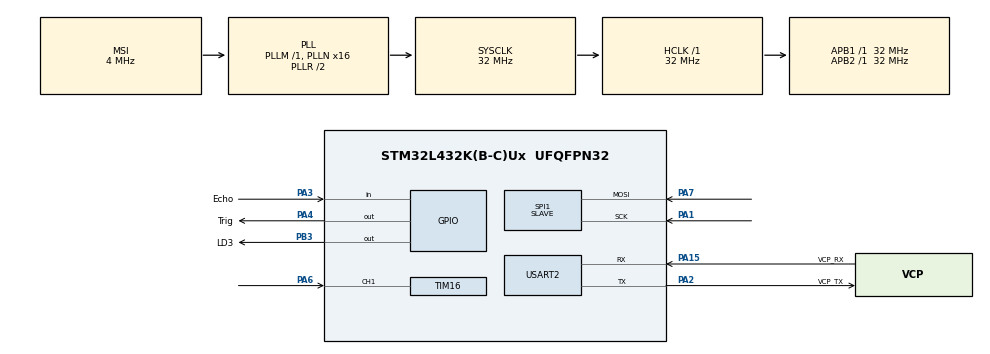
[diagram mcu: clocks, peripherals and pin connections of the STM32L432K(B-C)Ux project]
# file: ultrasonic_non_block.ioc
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Dma.Request0=SPI1_RX
Dma.Request1=USART2_TX
Dma.SPI1_RX.0.Direction=DMA_PERIPH_TO_MEMORY
Dma.SPI1_RX.0.Instance=DMA2_Channel3
Dma.SPI1_RX.0.MemDataAlignment=DMA_MDATAALIGN_HALFWORD
Dma.SPI1_RX.0.MemInc=DMA_MINC_ENABLE
Dma.SPI1_RX.0.Mode=DMA_NORMAL
Dma.SPI1_RX.0.PeriphDataAlignment=DMA_PDATAALIGN_HALFWORD
Dma.SPI1_RX.0.PeriphInc=DMA_PINC_DISABLE
Dma.SPI1_RX.0.Priority=DMA_PRIORITY_LOW
Dma.USART2_TX.1.Direction=DMA_MEMORY_TO_PERIPH
Dma.USART2_TX.1.Instance=DMA1_Channel7
Dma.USART2_TX.1.MemDataAlignment=DMA_MDATAALIGN_BYTE
Dma.USART2_TX.1.MemInc=DMA_MINC_ENABLE
Dma.USART2_TX.1.Mode=DMA_NORMAL
Dma.USART2_TX.1.PeriphDataAlignment=DMA_PDATAALIGN_BYTE
Dma.USART2_TX.1.PeriphInc=DMA_PINC_DISABLE
Dma.USART2_TX.1.Priority=DMA_PRIORITY_LOW
Mcu.Family=STM32L4
Mcu.Name=STM32L432K(B-C)Ux
Mcu.Package=UFQFPN32
NVIC.DMA1_Channel7_IRQn=true\:0\:0\:false\:false\:true\:false\:true\:true
NVIC.DMA2_Channel3_IRQn=true\:0\:0\:false\:false\:true\:false\:true\:true
NVIC.PriorityGroup=NVIC_PRIORITYGROUP_4
NVIC.TIM1_BRK_TIM15_IRQn=true\:0\:0\:false\:false\:true\:true\:true\:true
NVIC.TIM1_CC_IRQn=true\:0\:0\:false\:false\:true\:true\:true\:true
NVIC.TIM1_TRG_COM_IRQn=true\:0\:0\:false\:false\:true\:true\:true\:true
NVIC.TIM1_UP_TIM16_IRQn=true\:0\:0\:false\:false\:true\:true\:true\:true
NVIC.TIM2_IRQn=true\:0\:0\:false\:false\:true\:true\:true\:true
PA0.GPIO_Label=MCO [High speed clock in]
PA0.Mode=HSE-External-Clock-Source-for-LittleOrca
PA0.Signal=RCC_CK_IN
PA1.Mode=RX_Only_Simplex_Unidirect_Slave
PA1.Signal=SPI1_SCK
PA13\ (JTMS-SWDIO).GPIO_Label=SWDIO
PA13\ (JTMS-SWDIO).Mode=Serial_Wire
PA13\ (JTMS-SWDIO).Signal=SYS_JTMS-SWDIO
PA14\ (JTCK-SWCLK).GPIO_Label=SWCLK
PA14\ (JTCK-SWCLK).Mode=Serial_Wire
PA14\ (JTCK-SWCLK).Signal=SYS_JTCK-SWCLK
PA15\ (JTDI).GPIO_Label=VCP_RX
PA15\ (JTDI).Mode=Asynchronous
PA15\ (JTDI).Signal=USART2_RX
PA2.GPIO_Label=VCP_TX
PA2.Mode=Asynchronous
PA2.Signal=USART2_TX
PA3.GPIO_Label=Echo
PA3.Signal=GPIO_Input
PA4.GPIO_Label=Trig
PA4.Signal=GPIO_Output
PA6.Signal=S_TIM16_CH1
PA7.Mode=RX_Only_Simplex_Unidirect_Slave
PA7.Signal=SPI1_MOSI
PB3\ (JTDO-TRACESWO).GPIO_Label=LD3
PB3\ (JTDO-TRACESWO).Signal=GPIO_Output
PC14-OSC32_IN\ (PC14).Mode=LSE-External-Oscillator
PC14-OSC32_IN\ (PC14).Signal=RCC_OSC32_IN
PC15-OSC32_OUT\ (PC15).Mode=LSE-External-Oscillator
PC15-OSC32_OUT\ (PC15).Signal=RCC_OSC32_OUT
ProjectManager.HeapSize=0x200
ProjectManager.StackSize=0x400
ProjectManager.TargetToolchain=STM32CubeIDE
RCC.AHBFreq_Value=32000000
RCC.APB1Freq_Value=32000000
RCC.APB1TimFreq_Value=32000000
RCC.APB2Freq_Value=32000000
RCC.APB2TimFreq_Value=32000000
RCC.CortexFreq_Value=32000000
RCC.HCLKFreq_Value=32000000
RCC.HSE_VALUE=8000000
RCC.HSI16_VALUE=16000000
RCC.HSI48_VALUE=48000000
RCC.HSI_VALUE=16000000
RCC.MSI_VALUE=4000000
RCC.PLLMUL=RCC_PLLMUL_4
RCC.PLLN=16
RCC.SYSCLKFreq_VALUE=32000000
RCC.SYSCLKSource=RCC_SYSCLKSOURCE_PLLCLK
RCC.VCOOutputFreq_Value=64000000
SH.S_TIM16_CH1.0=TIM16_CH1,Input_Capture1_from_TI1
SPI1.DataSize=SPI_DATASIZE_16BIT
SPI1.Direction=SPI_DIRECTION_2LINES_RXONLY
SPI1.Mode=SPI_MODE_SLAVE
SPI1.VirtualType=VM_SLAVE
TIM1.Period=10000
TIM1.Prescaler=31
TIM15.Period=12
TIM15.Prescaler=31
TIM16.Channel=TIM_CHANNEL_1
TIM16.Prescaler=31
TIM2.Period=200
TIM2.Prescaler=31
USART2.VirtualMode-Asynchronous=VM_ASYNC
VP_TIM15_VS_ClockSourceINT.Mode=Internal
VP_TIM16_VS_ClockSourceINT.Mode=Enable_Timer
VP_TIM1_VS_ClockSourceINT.Mode=Internal
VP_TIM2_VS_ClockSourceINT.Mode=Internal
board=NUCLEO-L432KC

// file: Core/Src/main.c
/* USER CODE BEGIN Header */
/**
  ******************************************************************************
  * @file           : main.c
  * @brief          : Main program body
  ******************************************************************************
  * @attention
  *
  * Copyright (c) 2025 STMicroelectronics.
  * All rights reserved.
  *
  * This software is licensed under terms that can be found in the LICENSE file
  * in the root directory of this software component.
  * If no LICENSE file comes with this software, it is provided AS-IS.
  *
  ******************************************************************************
  */
/* USER CODE END Header */
#include "main.h"

SPI_HandleTypeDef hspi1;
DMA_HandleTypeDef hdma_spi1_rx;

TIM_HandleTypeDef htim1;
TIM_HandleTypeDef htim2;
TIM_HandleTypeDef htim15;
TIM_HandleTypeDef htim16;

UART_HandleTypeDef huart2;
DMA_HandleTypeDef hdma_usart2_tx;

void SystemClock_Config(void);
static void MX_GPIO_Init(void);
static void MX_DMA_Init(void);
static void MX_USART2_UART_Init(void);
static void MX_TIM1_Init(void);
static void MX_TIM16_Init(void);
static void MX_TIM15_Init(void);
static void MX_TIM2_Init(void);
static void MX_SPI1_Init(void);

/* USER CODE BEGIN 0 */
uint8_t edge_state;
uint16_t rising_edge;
uint16_t falling_edge;
uint8_t distance;
uint8_t in_range = 0;
uint8_t start_bit = 0;
uint8_t uart_state = 0;

#define BUFFER_SIZE 500
uint16_t spi_rx_buffer[BUFFER_SIZE];
uint16_t uart_tx_buffer0[BUFFER_SIZE / 2];
uint16_t uart_tx_buffer1[BUFFER_SIZE / 2];
uint16_t last_sample = 2048;
volatile uint8_t phase = 0;
volatile uint8_t isReady = 0;
volatile uint8_t isTransmit = 1;
char uart_msg[64];

void HAL_TIM_PeriodElapsedCallback(TIM_HandleTypeDef *htim){
	if(htim->Instance == TIM1){
		HAL_GPIO_WritePin(Trig_GPIO_Port, Trig_Pin, 1);
		HAL_TIM_Base_Start_IT(&htim15);
	}
	else if(htim->Instance == TIM15){
		HAL_GPIO_WritePin(Trig_GPIO_Port, Trig_Pin, 0);
		HAL_TIM_Base_Stop_IT(&htim15);
		__HAL_TIM_SET_COUNTER(&htim15, 0);
	}
//	else if(htim->Instance == TIM2){
//		HAL_UART_Transmit(&huart2, &start_bit, sizeof(start_bit),100);
//		HAL_UART_Transmit(&huart2, &in_range, sizeof(in_range),100);
//		start_bit ++;
//		if(start_bit == 255){
//			start_bit = 0;
//		}
//	}
}

void HAL_TIM_IC_CaptureCallback(TIM_HandleTypeDef *htim){
	if (htim->Instance == TIM16 && htim->Channel == HAL_TIM_ACTIVE_CHANNEL_1){
		if (edge_state == 0) {
			rising_edge = HAL_TIM_ReadCapturedValue(htim, TIM_CHANNEL_1);
			__HAL_TIM_SET_CAPTUREPOLARITY(htim, TIM_CHANNEL_1, TIM_INPUTCHANNELPOLARITY_FALLING);
			edge_state = 1;
		} else {
			falling_edge = HAL_TIM_ReadCapturedValue(htim, TIM_CHANNEL_1);
			__HAL_TIM_SET_CAPTUREPOLARITY(htim, TIM_CHANNEL_1, TIM_INPUTCHANNELPOLARITY_RISING);
			edge_state = 0;

			distance = (falling_edge - rising_edge)/58;

			if(in_range == 0){
				if(distance <= 20){
					in_range = 1;
					HAL_GPIO_WritePin(LD3_GPIO_Port, LD3_Pin, 1);
				}
			} else if(in_range == 1){
				if(distance > 25){
					in_range = 0;
					HAL_GPIO_WritePin(LD3_GPIO_Port, LD3_Pin, 0);
				}
			}
		}
	}
}

void HAL_SPI_RxHalfCpltCallback(SPI_HandleTypeDef *hspi) {
    if (hspi->Instance == SPI1) {

        phase = 0;
        for (int i = 0; i < BUFFER_SIZE / 2; ++ i) {
        		uart_tx_buffer0[i] = (last_sample + spi_rx_buffer[i]) >> 1;
        		last_sample = spi_rx_buffer[i];
//        	uart_tx_buffer0[i] = spi_rx_buffer[i];
        }
        isReady = 1;

    }
}

void HAL_SPI_RxCpltCallback(SPI_HandleTypeDef *hspi) {
    if (hspi->Instance == SPI1) {
        phase = 1;
        for (int i = 0; i < BUFFER_SIZE / 2; ++ i) {
        		uart_tx_buffer1[i] = (last_sample + spi_rx_buffer[i + BUFFER_SIZE / 2]) >> 1;
        		last_sample = spi_rx_buffer[i + BUFFER_SIZE / 2];
        }
        isReady = 1;
    }
}

void HAL_UART_TxCpltCallback(UART_HandleTypeDef *huart) {
    if (huart->Instance == USART2) {
    	isTransmit = 1;
    }
}

/* USER CODE END 0 */

int main(void)
{

  /* MCU Configuration--------------------------------------------------------*/

  /* Reset of all peripherals, Initializes the Flash interface and the Systick. */
  HAL_Init();

  /* Configure the system clock */
  SystemClock_Config();

  /* Initialize all configured peripherals */
  MX_GPIO_Init();
  MX_DMA_Init();
  MX_USART2_UART_Init();
  MX_TIM1_Init();
  MX_TIM16_Init();
  MX_TIM15_Init();
  MX_TIM2_Init();
  MX_SPI1_Init();
  /* USER CODE BEGIN 2 */
  HAL_TIM_Base_Start_IT(&htim1);
  //HAL_TIM_Base_Start_IT(&htim2);
  HAL_TIM_IC_Start_IT(&htim16, TIM_CHANNEL_1);
  HAL_SPI_Receive_DMA(&hspi1, (uint8_t*)spi_rx_buffer, BUFFER_SIZE * 2);
  /* USER CODE END 2 */

  /* Infinite loop */
  while (1){

    /* USER CODE BEGIN 3 */
		  if (isReady && isTransmit) {
			  isReady = 0;
			  if (phase == 0) {
				  HAL_UART_Transmit_DMA(&huart2, (uint8_t*)uart_tx_buffer0, BUFFER_SIZE);
				  isTransmit = 0;
			  } else {
				  HAL_UART_Transmit_DMA(&huart2, (uint8_t*)uart_tx_buffer1, BUFFER_SIZE);
				  isTransmit = 0;
			  }
		  }
  }
  /* USER CODE END 3 */
}

void SystemClock_Config(void)
{
  RCC_OscInitTypeDef RCC_OscInitStruct = {0};
  RCC_ClkInitTypeDef RCC_ClkInitStruct = {0};

  /** Configure the main internal regulator output voltage
  */
  if (HAL_PWREx_ControlVoltageScaling(PWR_REGULATOR_VOLTAGE_SCALE1) != HAL_OK)
  {
    Error_Handler();
  }

  /** Configure LSE Drive Capability
  */
  HAL_PWR_EnableBkUpAccess();
  __HAL_RCC_LSEDRIVE_CONFIG(RCC_LSEDRIVE_LOW);

  /** Initializes the RCC Oscillators according to the specified parameters
  * in the RCC_OscInitTypeDef structure.
  */
  RCC_OscInitStruct.OscillatorType = RCC_OSCILLATORTYPE_LSI|RCC_OSCILLATORTYPE_LSE
                              |RCC_OSCILLATORTYPE_MSI;
  RCC_OscInitStruct.LSEState = RCC_LSE_ON;
  RCC_OscInitStruct.LSIState = RCC_LSI_ON;
  RCC_OscInitStruct.MSIState = RCC_MSI_ON;
  RCC_OscInitStruct.MSICalibrationValue = 0;
  RCC_OscInitStruct.MSIClockRange = RCC_MSIRANGE_6;
  RCC_OscInitStruct.PLL.PLLState = RCC_PLL_ON;
  RCC_OscInitStruct.PLL.PLLSource = RCC_PLLSOURCE_MSI;
  RCC_OscInitStruct.PLL.PLLM = 1;
  RCC_OscInitStruct.PLL.PLLN = 16;
  RCC_OscInitStruct.PLL.PLLP = RCC_PLLP_DIV7;
  RCC_OscInitStruct.PLL.PLLQ = RCC_PLLQ_DIV2;
  RCC_OscInitStruct.PLL.PLLR = RCC_PLLR_DIV2;
  if (HAL_RCC_OscConfig(&RCC_OscInitStruct) != HAL_OK)
  {
    Error_Handler();
  }

  /** Initializes the CPU, AHB and APB buses clocks
  */
  RCC_ClkInitStruct.ClockType = RCC_CLOCKTYPE_HCLK|RCC_CLOCKTYPE_SYSCLK
                              |RCC_CLOCKTYPE_PCLK1|RCC_CLOCKTYPE_PCLK2;
  RCC_ClkInitStruct.SYSCLKSource = RCC_SYSCLKSOURCE_PLLCLK;
  RCC_ClkInitStruct.AHBCLKDivider = RCC_SYSCLK_DIV1;
  RCC_ClkInitStruct.APB1CLKDivider = RCC_HCLK_DIV1;
  RCC_ClkInitStruct.APB2CLKDivider = RCC_HCLK_DIV1;

  if (HAL_RCC_ClockConfig(&RCC_ClkInitStruct, FLASH_LATENCY_1) != HAL_OK)
  {
    Error_Handler();
  }

  /** Enable MSI Auto calibration
  */
  HAL_RCCEx_EnableMSIPLLMode();
}

static void MX_SPI1_Init(void)
{

  /* SPI1 parameter configuration*/
  hspi1.Instance = SPI1;
  hspi1.Init.Mode = SPI_MODE_SLAVE;
  hspi1.Init.Direction = SPI_DIRECTION_2LINES_RXONLY;
  hspi1.Init.DataSize = SPI_DATASIZE_16BIT;
  hspi1.Init.CLKPolarity = SPI_POLARITY_LOW;
  hspi1.Init.CLKPhase = SPI_PHASE_1EDGE;
  hspi1.Init.NSS = SPI_NSS_SOFT;
  hspi1.Init.FirstBit = SPI_FIRSTBIT_MSB;
  hspi1.Init.TIMode = SPI_TIMODE_DISABLE;
  hspi1.Init.CRCCalculation = SPI_CRCCALCULATION_DISABLE;
  hspi1.Init.CRCPolynomial = 7;
  hspi1.Init.CRCLength = SPI_CRC_LENGTH_DATASIZE;
  hspi1.Init.NSSPMode = SPI_NSS_PULSE_DISABLE;
  if (HAL_SPI_Init(&hspi1) != HAL_OK)
  {
    Error_Handler();
  }

}

static void MX_TIM1_Init(void)
{

  TIM_ClockConfigTypeDef sClockSourceConfig = {0};
  TIM_MasterConfigTypeDef sMasterConfig = {0};

  htim1.Instance = TIM1;
  htim1.Init.Prescaler = 31;
  htim1.Init.CounterMode = TIM_COUNTERMODE_UP;
  htim1.Init.Period = 10000;
  htim1.Init.ClockDivision = TIM_CLOCKDIVISION_DIV1;
  htim1.Init.RepetitionCounter = 0;
  htim1.Init.AutoReloadPreload = TIM_AUTORELOAD_PRELOAD_DISABLE;
  if (HAL_TIM_Base_Init(&htim1) != HAL_OK)
  {
    Error_Handler();
  }
  sClockSourceConfig.ClockSource = TIM_CLOCKSOURCE_INTERNAL;
  if (HAL_TIM_ConfigClockSource(&htim1, &sClockSourceConfig) != HAL_OK)
  {
    Error_Handler();
  }
  sMasterConfig.MasterOutputTrigger = TIM_TRGO_RESET;
  sMasterConfig.MasterOutputTrigger2 = TIM_TRGO2_RESET;
  sMasterConfig.MasterSlaveMode = TIM_MASTERSLAVEMODE_DISABLE;
  if (HAL_TIMEx_MasterConfigSynchronization(&htim1, &sMasterConfig) != HAL_OK)
  {
    Error_Handler();
  }

}

static void MX_TIM2_Init(void)
{

  TIM_ClockConfigTypeDef sClockSourceConfig = {0};
  TIM_MasterConfigTypeDef sMasterConfig = {0};

  htim2.Instance = TIM2;
  htim2.Init.Prescaler = 31;
  htim2.Init.CounterMode = TIM_COUNTERMODE_UP;
  htim2.Init.Period = 200;
  htim2.Init.ClockDivision = TIM_CLOCKDIVISION_DIV1;
  htim2.Init.AutoReloadPreload = TIM_AUTORELOAD_PRELOAD_DISABLE;
  if (HAL_TIM_Base_Init(&htim2) != HAL_OK)
  {
    Error_Handler();
  }
  sClockSourceConfig.ClockSource = TIM_CLOCKSOURCE_INTERNAL;
  if (HAL_TIM_ConfigClockSource(&htim2, &sClockSourceConfig) != HAL_OK)
  {
    Error_Handler();
  }
  sMasterConfig.MasterOutputTrigger = TIM_TRGO_RESET;
  sMasterConfig.MasterSlaveMode = TIM_MASTERSLAVEMODE_DISABLE;
  if (HAL_TIMEx_MasterConfigSynchronization(&htim2, &sMasterConfig) != HAL_OK)
  {
    Error_Handler();
  }

}

static void MX_TIM15_Init(void)
{

  TIM_ClockConfigTypeDef sClockSourceConfig = {0};
  TIM_MasterConfigTypeDef sMasterConfig = {0};

  htim15.Instance = TIM15;
  htim15.Init.Prescaler = 31;
  htim15.Init.CounterMode = TIM_COUNTERMODE_UP;
  htim15.Init.Period = 12;
  htim15.Init.ClockDivision = TIM_CLOCKDIVISION_DIV1;
  htim15.Init.RepetitionCounter = 0;
  htim15.Init.AutoReloadPreload = TIM_AUTORELOAD_PRELOAD_DISABLE;
  if (HAL_TIM_Base_Init(&htim15) != HAL_OK)
  {
    Error_Handler();
  }
  sClockSourceConfig.ClockSource = TIM_CLOCKSOURCE_INTERNAL;
  if (HAL_TIM_ConfigClockSource(&htim15, &sClockSourceConfig) != HAL_OK)
  {
    Error_Handler();
  }
  sMasterConfig.MasterOutputTrigger = TIM_TRGO_RESET;
  sMasterConfig.MasterSlaveMode = TIM_MASTERSLAVEMODE_DISABLE;
  if (HAL_TIMEx_MasterConfigSynchronization(&htim15, &sMasterConfig) != HAL_OK)
  {
    Error_Handler();
  }

}

static void MX_TIM16_Init(void)
{

  TIM_IC_InitTypeDef sConfigIC = {0};

  htim16.Instance = TIM16;
  htim16.Init.Prescaler = 31;
  htim16.Init.CounterMode = TIM_COUNTERMODE_UP;
  htim16.Init.Period = 65535;
  htim16.Init.ClockDivision = TIM_CLOCKDIVISION_DIV1;
  htim16.Init.RepetitionCounter = 0;
  htim16.Init.AutoReloadPreload = TIM_AUTORELOAD_PRELOAD_DISABLE;
  if (HAL_TIM_Base_Init(&htim16) != HAL_OK)
  {
    Error_Handler();
  }
  if (HAL_TIM_IC_Init(&htim16) != HAL_OK)
  {
    Error_Handler();
  }
  sConfigIC.ICPolarity = TIM_INPUTCHANNELPOLARITY_RISING;
  sConfigIC.ICSelection = TIM_ICSELECTION_DIRECTTI;
  sConfigIC.ICPrescaler = TIM_ICPSC_DIV1;
  sConfigIC.ICFilter = 0;
  if (HAL_TIM_IC_ConfigChannel(&htim16, &sConfigIC, TIM_CHANNEL_1) != HAL_OK)
  {
    Error_Handler();
  }

}

static void MX_USART2_UART_Init(void)
{

  huart2.Instance = USART2;
  huart2.Init.BaudRate = 115200;
  huart2.Init.WordLength = UART_WORDLENGTH_8B;
  huart2.Init.StopBits = UART_STOPBITS_1;
  huart2.Init.Parity = UART_PARITY_NONE;
  huart2.Init.Mode = UART_MODE_TX_RX;
  huart2.Init.HwFlowCtl = UART_HWCONTROL_NONE;
  huart2.Init.OverSampling = UART_OVERSAMPLING_16;
  huart2.Init.OneBitSampling = UART_ONE_BIT_SAMPLE_DISABLE;
  huart2.AdvancedInit.AdvFeatureInit = UART_ADVFEATURE_NO_INIT;
  if (HAL_UART_Init(&huart2) != HAL_OK)
  {
    Error_Handler();
  }

}

static void MX_DMA_Init(void)
{

  /* DMA controller clock enable */
  __HAL_RCC_DMA2_CLK_ENABLE();
  __HAL_RCC_DMA1_CLK_ENABLE();

  /* DMA interrupt init */
  /* DMA1_Channel7_IRQn interrupt configuration */
  HAL_NVIC_SetPriority(DMA1_Channel7_IRQn, 0, 0);
  HAL_NVIC_EnableIRQ(DMA1_Channel7_IRQn);
  /* DMA2_Channel3_IRQn interrupt configuration */
  HAL_NVIC_SetPriority(DMA2_Channel3_IRQn, 0, 0);
  HAL_NVIC_EnableIRQ(DMA2_Channel3_IRQn);

}

static void MX_GPIO_Init(void)
{
  GPIO_InitTypeDef GPIO_InitStruct = {0};

  /* GPIO Ports Clock Enable */
  __HAL_RCC_GPIOC_CLK_ENABLE();
  __HAL_RCC_GPIOA_CLK_ENABLE();
  __HAL_RCC_GPIOB_CLK_ENABLE();

  /*Configure GPIO pin Output Level */
  HAL_GPIO_WritePin(Trig_GPIO_Port, Trig_Pin, GPIO_PIN_RESET);

  /*Configure GPIO pin Output Level */
  HAL_GPIO_WritePin(LD3_GPIO_Port, LD3_Pin, GPIO_PIN_RESET);

  /*Configure GPIO pin : Echo_Pin */
  GPIO_InitStruct.Pin = Echo_Pin;
  GPIO_InitStruct.Mode = GPIO_MODE_INPUT;
  GPIO_InitStruct.Pull = GPIO_NOPULL;
  HAL_GPIO_Init(Echo_GPIO_Port, &GPIO_InitStruct);

  /*Configure GPIO pin : Trig_Pin */
  GPIO_InitStruct.Pin = Trig_Pin;
  GPIO_InitStruct.Mode = GPIO_MODE_OUTPUT_PP;
  GPIO_InitStruct.Pull = GPIO_NOPULL;
  GPIO_InitStruct.Speed = GPIO_SPEED_FREQ_LOW;
  HAL_GPIO_Init(Trig_GPIO_Port, &GPIO_InitStruct);

  /*Configure GPIO pin : LD3_Pin */
  GPIO_InitStruct.Pin = LD3_Pin;
  GPIO_InitStruct.Mode = GPIO_MODE_OUTPUT_PP;
  GPIO_InitStruct.Pull = GPIO_NOPULL;
  GPIO_InitStruct.Speed = GPIO_SPEED_FREQ_LOW;
  HAL_GPIO_Init(LD3_GPIO_Port, &GPIO_InitStruct);

}

void Error_Handler(void)
{
  __disable_irq();
  while (1)
  {
  }
}
